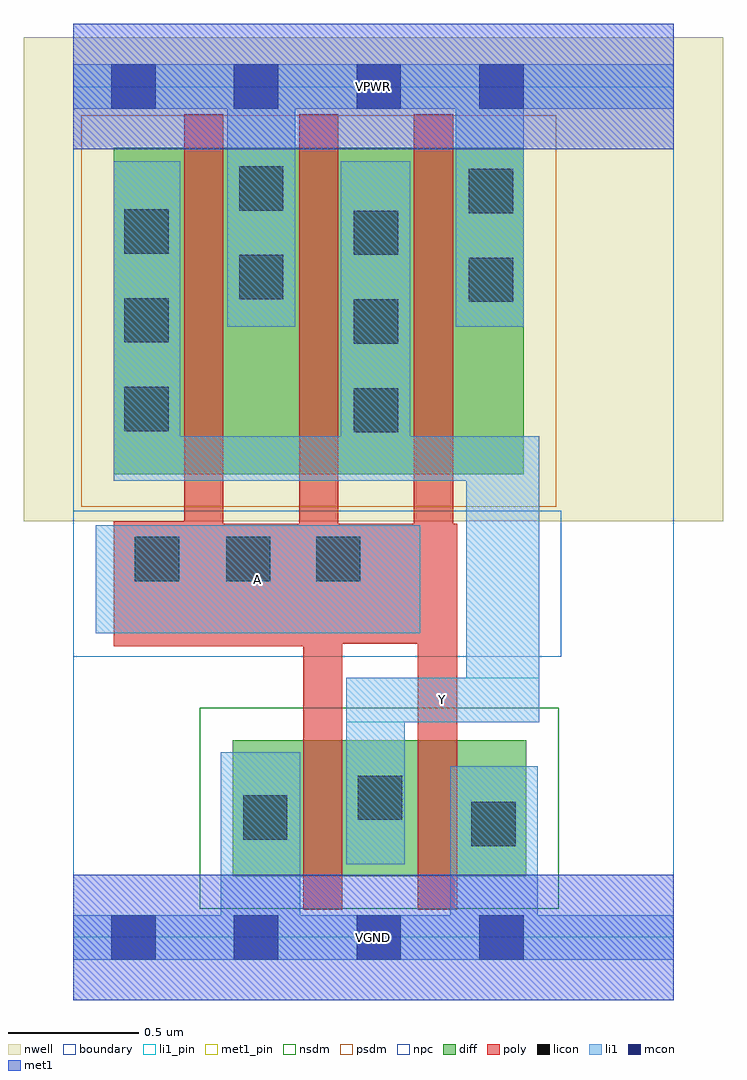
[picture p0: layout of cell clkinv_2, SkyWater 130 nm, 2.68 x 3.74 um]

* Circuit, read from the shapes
.subckt clkinv_2 A VGND VPWR Y
XM1 Y A VGND VSUBS sky130_fd_pr__nfet_01v8 w=0.52 l=0.15 m=2
XM2 VPWR A Y n1 sky130_fd_pr__pfet_01v8 w=1.25 l=0.15 m=3
.ends

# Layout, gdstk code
import gdstk
lib = gdstk.Library(unit=1e-6, precision=1e-09)
def R(c, l, rs):  # rectangles x0, y0, x1, y1
    for r in rs: c.add(gdstk.rectangle(r[:2], r[2:], *l))
def A(c, l, x, y, w, h, nx, ny, dx, dy):  # array of equal rectangles
    R(c, l, [(x+i*dx, y+j*dy, x+i*dx+w, y+j*dy+h) for i in range(nx) for j in range(ny)])
nwell = (64, 20)
diff = (65, 20)
poly = (66, 20)
licon = (66, 44)
li1_pin = (67, 16)
li1 = (67, 20)
mcon = (67, 44)
met1_pin = (68, 16)
met1 = (68, 20)
nsdm = (93, 44)
psdm = (94, 20)
npc = (95, 20)
boundary = (235, 4)

clkinv_2 = lib.new_cell('clkinv_2')
R(clkinv_2, nwell, [(-0.19,1.595,2.49,3.45), (0,1.595,2.3,3.45)])
R(clkinv_2, diff, [(0.61,0.235,1.735,0.755), (0.155,1.775,1.725,3.025)])
R(clkinv_2, poly, [(0.88,0.105,1.03,1.585), (1.32,0.105,1.47,1.585), (0.155,1.115,1.03,1.585), (0.155,1.115,0.575,1.595), (0.425,1.115,0.575,3.155), (0.865,1.115,1.015,3.155), (0.155,1.125,1.47,1.585), (1.305,1.125,1.455,3.155)])
A(clkinv_2, licon, 1.075, 1.935, 0.17, 0.17, 1, 3, 0, 0.34)
A(clkinv_2, licon, 0.195, 1.94, 0.17, 0.17, 1, 3, 0, 0.34)
R(clkinv_2, licon, [(1.525,0.35,1.695,0.52), (0.65,0.375,0.82,0.545), (1.09,0.45,1.26,0.62), (0.235,1.365,0.405,1.535), (0.585,1.365,0.755,1.535), (0.93,1.365,1.1,1.535), (1.515,2.435,1.685,2.605), (0.635,2.445,0.805,2.615), (1.515,2.775,1.685,2.945), (0.635,2.785,0.805,2.955)])
R(clkinv_2, li1_pin, [(1.045,0.825,1.785,0.995), (0.085,1.165,1.33,1.58)])
R(clkinv_2, li1, [(0,-0.085,2.3,0.085), (0.565,-0.085,0.87,0.71), (1.445,-0.085,1.78,0.655), (1.045,0.28,1.27,0.995), (1.045,0.825,1.785,0.995), (1.505,0.825,1.785,1.92), (0.085,1.165,1.33,1.58), (0.155,1.75,1.785,1.92), (0.155,1.75,0.41,2.975), (1.025,1.75,1.29,2.975), (0.59,2.34,0.85,3.345), (1.465,2.34,1.725,3.345), (0,3.175,2.3,3.345)])
A(clkinv_2, mcon, 0.145, -0.085, 0.17, 0.17, 4, 2, 0.47, 3.26)
R(clkinv_2, met1_pin, [(0,-0.24,2.3,0.24), (0,3.02,2.3,3.5)])
R(clkinv_2, met1, [(0,-0.24,2.3,0.24), (0,3.02,2.3,3.5)])
R(clkinv_2, nsdm, [(0.485,0.11,1.86,0.88)])
R(clkinv_2, psdm, [(0.03,1.65,1.85,3.15)])
R(clkinv_2, npc, [(0,1.075,1.87,1.635)])
R(clkinv_2, boundary, [(0,0,2.3,3.26)])
clkinv_2.add(gdstk.Label('A', (0.707,1.372), layer=67, texttype=5))
clkinv_2.add(gdstk.Label('Y', (1.415,0.91), layer=67, texttype=5))
clkinv_2.add(gdstk.Label('VPWR', (1.15,3.26), layer=68, texttype=5))
clkinv_2.add(gdstk.Label('VGND', (1.15,0), layer=68, texttype=5))
clkinv_2.add(gdstk.Label('A', (0.707,1.372), layer=67, texttype=16))
clkinv_2.add(gdstk.Label('Y', (1.415,0.91), layer=67, texttype=16))
clkinv_2.add(gdstk.Label('VPWR', (1.15,3.26), layer=68, texttype=16))
clkinv_2.add(gdstk.Label('VGND', (1.15,0), layer=68, texttype=16))

lib.write_gds('clkinv_2.gds')
